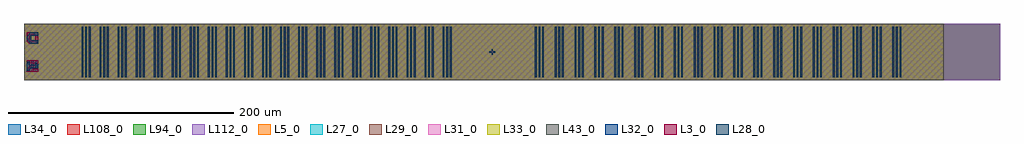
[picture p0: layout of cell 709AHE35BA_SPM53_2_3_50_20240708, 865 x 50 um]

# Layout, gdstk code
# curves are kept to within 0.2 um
from math import pi, radians
import gdstk
lib = gdstk.Library(unit=1e-6, precision=1e-09)
def R(c, l, rs):  # rectangles x0, y0, x1, y1
    for r in rs: c.add(gdstk.rectangle(r[:2], r[2:], *l))
def A(c, l, x, y, w, h, nx, ny, dx, dy):  # array of equal rectangles
    R(c, l, [(x+i*dx, y+j*dy, x+i*dx+w, y+j*dy+h) for i in range(nx) for j in range(ny)])
def P(c, l, *ps):  # polygons
    for p in ps: c.add(gdstk.Polygon(p, *l))
L3_0 = (3, 0)
L5_0 = (5, 0)
L27_0 = (27, 0)
L28_0 = (28, 0)
L29_0 = (29, 0)
L31_0 = (31, 0)
L32_0 = (32, 0)
L33_0 = (33, 0)
L34_0 = (34, 0)
L43_0 = (43, 0)
L94_0 = (94, 0)
L108_0 = (108, 0)
L112_0 = (112, 0)

spm53_800_50_1_6_45_0_t_ = lib.new_cell('SPM53_800_50_1_6_45_0_T_3_T')
A(spm53_800_50_1_6_45_0_t_, L3_0, 51, 2.5, 1.6, 45, 3, 1, 3.2, 0)
A(spm53_800_50_1_6_45_0_t_, L3_0, 67, 2.5, 1.6, 45, 3, 1, 3.2, 0)
A(spm53_800_50_1_6_45_0_t_, L3_0, 83, 2.5, 1.6, 45, 3, 1, 3.2, 0)
A(spm53_800_50_1_6_45_0_t_, L3_0, 99, 2.5, 1.6, 45, 3, 1, 3.2, 0)
A(spm53_800_50_1_6_45_0_t_, L3_0, 115, 2.5, 1.6, 45, 3, 1, 3.2, 0)
A(spm53_800_50_1_6_45_0_t_, L3_0, 131, 2.5, 1.6, 45, 3, 1, 3.2, 0)
A(spm53_800_50_1_6_45_0_t_, L3_0, 147, 2.5, 1.6, 45, 3, 1, 3.2, 0)
A(spm53_800_50_1_6_45_0_t_, L3_0, 163, 2.5, 1.6, 45, 3, 1, 3.2, 0)
A(spm53_800_50_1_6_45_0_t_, L3_0, 179, 2.5, 1.6, 45, 3, 1, 3.2, 0)
A(spm53_800_50_1_6_45_0_t_, L3_0, 195, 2.5, 1.6, 45, 3, 1, 3.2, 0)
A(spm53_800_50_1_6_45_0_t_, L3_0, 211, 2.5, 1.6, 45, 3, 1, 3.2, 0)
A(spm53_800_50_1_6_45_0_t_, L3_0, 227, 2.5, 1.6, 45, 3, 1, 3.2, 0)
A(spm53_800_50_1_6_45_0_t_, L3_0, 243, 2.5, 1.6, 45, 3, 1, 3.2, 0)
A(spm53_800_50_1_6_45_0_t_, L3_0, 259, 2.5, 1.6, 45, 3, 1, 3.2, 0)
A(spm53_800_50_1_6_45_0_t_, L3_0, 275, 2.5, 1.6, 45, 3, 1, 3.2, 0)
A(spm53_800_50_1_6_45_0_t_, L3_0, 291, 2.5, 1.6, 45, 3, 1, 3.2, 0)
A(spm53_800_50_1_6_45_0_t_, L3_0, 307, 2.5, 1.6, 45, 3, 1, 3.2, 0)
A(spm53_800_50_1_6_45_0_t_, L3_0, 323, 2.5, 1.6, 45, 3, 1, 3.2, 0)
A(spm53_800_50_1_6_45_0_t_, L3_0, 339, 2.5, 1.6, 45, 3, 1, 3.2, 0)
A(spm53_800_50_1_6_45_0_t_, L3_0, 355, 2.5, 1.6, 45, 3, 1, 3.2, 0)
A(spm53_800_50_1_6_45_0_t_, L3_0, 371, 2.5, 1.6, 45, 3, 1, 3.2, 0)
A(spm53_800_50_1_6_45_0_t_, L3_0, 452.8, 2.5, 1.6, 45, 3, 1, 3.2, 0)
A(spm53_800_50_1_6_45_0_t_, L3_0, 470.4, 2.5, 1.6, 45, 3, 1, 3.2, 0)
A(spm53_800_50_1_6_45_0_t_, L3_0, 488, 2.5, 1.6, 45, 3, 1, 3.2, 0)
A(spm53_800_50_1_6_45_0_t_, L3_0, 505.6, 2.5, 1.6, 45, 3, 1, 3.2, 0)
A(spm53_800_50_1_6_45_0_t_, L3_0, 523.2, 2.5, 1.6, 45, 3, 1, 3.2, 0)
A(spm53_800_50_1_6_45_0_t_, L3_0, 540.8, 2.5, 1.6, 45, 3, 1, 3.2, 0)
A(spm53_800_50_1_6_45_0_t_, L3_0, 558.4, 2.5, 1.6, 45, 3, 1, 3.2, 0)
A(spm53_800_50_1_6_45_0_t_, L3_0, 576, 2.5, 1.6, 45, 3, 1, 3.2, 0)
A(spm53_800_50_1_6_45_0_t_, L3_0, 593.6, 2.5, 1.6, 45, 3, 1, 3.2, 0)
A(spm53_800_50_1_6_45_0_t_, L3_0, 611.2, 2.5, 1.6, 45, 3, 1, 3.2, 0)
A(spm53_800_50_1_6_45_0_t_, L3_0, 628.8, 2.5, 1.6, 45, 3, 1, 3.2, 0)
A(spm53_800_50_1_6_45_0_t_, L3_0, 646.4, 2.5, 1.6, 45, 3, 1, 3.2, 0)
A(spm53_800_50_1_6_45_0_t_, L3_0, 664, 2.5, 1.6, 45, 3, 1, 3.2, 0)
A(spm53_800_50_1_6_45_0_t_, L3_0, 681.6, 2.5, 1.6, 45, 3, 1, 3.2, 0)
A(spm53_800_50_1_6_45_0_t_, L3_0, 699.2, 2.5, 1.6, 45, 3, 1, 3.2, 0)
A(spm53_800_50_1_6_45_0_t_, L3_0, 716.8, 2.5, 1.6, 45, 3, 1, 3.2, 0)
A(spm53_800_50_1_6_45_0_t_, L3_0, 734.4, 2.5, 1.6, 45, 3, 1, 3.2, 0)
A(spm53_800_50_1_6_45_0_t_, L3_0, 752, 2.5, 1.6, 45, 3, 1, 3.2, 0)
A(spm53_800_50_1_6_45_0_t_, L3_0, 769.6, 2.5, 1.6, 45, 3, 1, 3.2, 0)
P(spm53_800_50_1_6_45_0_t_, L3_0, [(415.5,24.5),(417.5,24.5),(417.5,25.5),(415.5,25.5),(415.5,27.5),(414.5,27.5),(414.5,25.5),(412.5,25.5),(412.5,24.5),(414.5,24.5),(414.5,22.5),(415.5,22.5)])
R(spm53_800_50_1_6_45_0_t_, L5_0, [(15,0,815,50)])
R(spm53_800_50_1_6_45_0_t_, L27_0, [(15,0,815,50)])
R(spm53_800_50_1_6_45_0_t_, L29_0, [(15,0,815,50)])
R(spm53_800_50_1_6_45_0_t_, L31_0, [(15,0,815,50)])
R(spm53_800_50_1_6_45_0_t_, L33_0, [(15,0,815,50)])
R(spm53_800_50_1_6_45_0_t_, L34_0, [(15,0,865,50)])
R(spm53_800_50_1_6_45_0_t_, L43_0, [(15,0,815,50)])
R(spm53_800_50_1_6_45_0_t_, L94_0, [(15,0,865,50)])
R(spm53_800_50_1_6_45_0_t_, L108_0, [(15,0,865,50)])
R(spm53_800_50_1_6_45_0_t_, L112_0, [(15,0,865,50)])

c_spm53_800_50_1_6_45_0_t_ = lib.new_cell('SPM53_800_50_1_6_45_0_T_3_name')
P(c_spm53_800_50_1_6_45_0_t_, L3_0, [(15.5,2.5),(17.5,4.5),(17.5,10.5),(15.5,12.5),(7.5,12.5),(7.5,5),(10,5),(10,10),(14,10),(15,9),(15,6),(14,5),(7.5,5),(7.5,2.5)],
  [(35,8.5),(40,2.5),(42.5,2.5),(42.5,12.5),(40,12.5),(40,6.5),(35,12.5),(32.5,12.5),(32.5,2.5),(35,2.5)])
R(c_spm53_800_50_1_6_45_0_t_, L5_0, [(0,0,50,15)])
R(c_spm53_800_50_1_6_45_0_t_, L27_0, [(0,0,50,15)])
R(c_spm53_800_50_1_6_45_0_t_, L29_0, [(0,0,50,15)])
R(c_spm53_800_50_1_6_45_0_t_, L31_0, [(0,0,50,15)])
R(c_spm53_800_50_1_6_45_0_t_, L33_0, [(0,0,50,15)])
R(c_spm53_800_50_1_6_45_0_t_, L34_0, [(0,0,50,15)])
R(c_spm53_800_50_1_6_45_0_t_, L43_0, [(0,0,50,15)])
R(c_spm53_800_50_1_6_45_0_t_, L94_0, [(0,0,50,15)])
R(c_spm53_800_50_1_6_45_0_t_, L108_0, [(0,0,50,15)])
R(c_spm53_800_50_1_6_45_0_t_, L112_0, [(0,0,50,15)])

c_spm53_800_50_1_6_45_0_t__ = lib.new_cell('SPM53_800_50_1_6_45_0_T_28_T')
R(c_spm53_800_50_1_6_45_0_t__, L5_0, [(15,0,815,50)])
R(c_spm53_800_50_1_6_45_0_t__, L27_0, [(15,0,815,50)])
A(c_spm53_800_50_1_6_45_0_t__, L28_0, 51, 2.5, 1.6, 45, 3, 1, 3.2, 0)
A(c_spm53_800_50_1_6_45_0_t__, L28_0, 67, 2.5, 1.6, 45, 3, 1, 3.2, 0)
A(c_spm53_800_50_1_6_45_0_t__, L28_0, 83, 2.5, 1.6, 45, 3, 1, 3.2, 0)
A(c_spm53_800_50_1_6_45_0_t__, L28_0, 99, 2.5, 1.6, 45, 3, 1, 3.2, 0)
A(c_spm53_800_50_1_6_45_0_t__, L28_0, 115, 2.5, 1.6, 45, 3, 1, 3.2, 0)
A(c_spm53_800_50_1_6_45_0_t__, L28_0, 131, 2.5, 1.6, 45, 3, 1, 3.2, 0)
A(c_spm53_800_50_1_6_45_0_t__, L28_0, 147, 2.5, 1.6, 45, 3, 1, 3.2, 0)
A(c_spm53_800_50_1_6_45_0_t__, L28_0, 163, 2.5, 1.6, 45, 3, 1, 3.2, 0)
A(c_spm53_800_50_1_6_45_0_t__, L28_0, 179, 2.5, 1.6, 45, 3, 1, 3.2, 0)
A(c_spm53_800_50_1_6_45_0_t__, L28_0, 195, 2.5, 1.6, 45, 3, 1, 3.2, 0)
A(c_spm53_800_50_1_6_45_0_t__, L28_0, 211, 2.5, 1.6, 45, 3, 1, 3.2, 0)
A(c_spm53_800_50_1_6_45_0_t__, L28_0, 227, 2.5, 1.6, 45, 3, 1, 3.2, 0)
A(c_spm53_800_50_1_6_45_0_t__, L28_0, 243, 2.5, 1.6, 45, 3, 1, 3.2, 0)
A(c_spm53_800_50_1_6_45_0_t__, L28_0, 259, 2.5, 1.6, 45, 3, 1, 3.2, 0)
A(c_spm53_800_50_1_6_45_0_t__, L28_0, 275, 2.5, 1.6, 45, 3, 1, 3.2, 0)
A(c_spm53_800_50_1_6_45_0_t__, L28_0, 291, 2.5, 1.6, 45, 3, 1, 3.2, 0)
A(c_spm53_800_50_1_6_45_0_t__, L28_0, 307, 2.5, 1.6, 45, 3, 1, 3.2, 0)
A(c_spm53_800_50_1_6_45_0_t__, L28_0, 323, 2.5, 1.6, 45, 3, 1, 3.2, 0)
A(c_spm53_800_50_1_6_45_0_t__, L28_0, 339, 2.5, 1.6, 45, 3, 1, 3.2, 0)
A(c_spm53_800_50_1_6_45_0_t__, L28_0, 355, 2.5, 1.6, 45, 3, 1, 3.2, 0)
A(c_spm53_800_50_1_6_45_0_t__, L28_0, 371, 2.5, 1.6, 45, 3, 1, 3.2, 0)
A(c_spm53_800_50_1_6_45_0_t__, L28_0, 452.8, 2.5, 1.6, 45, 3, 1, 3.2, 0)
A(c_spm53_800_50_1_6_45_0_t__, L28_0, 470.4, 2.5, 1.6, 45, 3, 1, 3.2, 0)
A(c_spm53_800_50_1_6_45_0_t__, L28_0, 488, 2.5, 1.6, 45, 3, 1, 3.2, 0)
A(c_spm53_800_50_1_6_45_0_t__, L28_0, 505.6, 2.5, 1.6, 45, 3, 1, 3.2, 0)
A(c_spm53_800_50_1_6_45_0_t__, L28_0, 523.2, 2.5, 1.6, 45, 3, 1, 3.2, 0)
A(c_spm53_800_50_1_6_45_0_t__, L28_0, 540.8, 2.5, 1.6, 45, 3, 1, 3.2, 0)
A(c_spm53_800_50_1_6_45_0_t__, L28_0, 558.4, 2.5, 1.6, 45, 3, 1, 3.2, 0)
A(c_spm53_800_50_1_6_45_0_t__, L28_0, 576, 2.5, 1.6, 45, 3, 1, 3.2, 0)
A(c_spm53_800_50_1_6_45_0_t__, L28_0, 593.6, 2.5, 1.6, 45, 3, 1, 3.2, 0)
A(c_spm53_800_50_1_6_45_0_t__, L28_0, 611.2, 2.5, 1.6, 45, 3, 1, 3.2, 0)
A(c_spm53_800_50_1_6_45_0_t__, L28_0, 628.8, 2.5, 1.6, 45, 3, 1, 3.2, 0)
A(c_spm53_800_50_1_6_45_0_t__, L28_0, 646.4, 2.5, 1.6, 45, 3, 1, 3.2, 0)
A(c_spm53_800_50_1_6_45_0_t__, L28_0, 664, 2.5, 1.6, 45, 3, 1, 3.2, 0)
A(c_spm53_800_50_1_6_45_0_t__, L28_0, 681.6, 2.5, 1.6, 45, 3, 1, 3.2, 0)
A(c_spm53_800_50_1_6_45_0_t__, L28_0, 699.2, 2.5, 1.6, 45, 3, 1, 3.2, 0)
A(c_spm53_800_50_1_6_45_0_t__, L28_0, 716.8, 2.5, 1.6, 45, 3, 1, 3.2, 0)
A(c_spm53_800_50_1_6_45_0_t__, L28_0, 734.4, 2.5, 1.6, 45, 3, 1, 3.2, 0)
A(c_spm53_800_50_1_6_45_0_t__, L28_0, 752, 2.5, 1.6, 45, 3, 1, 3.2, 0)
A(c_spm53_800_50_1_6_45_0_t__, L28_0, 769.6, 2.5, 1.6, 45, 3, 1, 3.2, 0)
P(c_spm53_800_50_1_6_45_0_t__, L28_0, [(415.5,24.5),(417.5,24.5),(417.5,25.5),(415.5,25.5),(415.5,27.5),(414.5,27.5),(414.5,25.5),(412.5,25.5),(412.5,24.5),(414.5,24.5),(414.5,22.5),(415.5,22.5)])
R(c_spm53_800_50_1_6_45_0_t__, L29_0, [(15,0,815,50)])
R(c_spm53_800_50_1_6_45_0_t__, L31_0, [(15,0,815,50)])
R(c_spm53_800_50_1_6_45_0_t__, L33_0, [(15,0,815,50)])
R(c_spm53_800_50_1_6_45_0_t__, L34_0, [(15,0,865,50)])
R(c_spm53_800_50_1_6_45_0_t__, L43_0, [(15,0,815,50)])
R(c_spm53_800_50_1_6_45_0_t__, L94_0, [(15,0,865,50)])
R(c_spm53_800_50_1_6_45_0_t__, L108_0, [(15,0,865,50)])
R(c_spm53_800_50_1_6_45_0_t__, L112_0, [(15,0,865,50)])

c_spm53_800_50_1_6_45_0_t___ = lib.new_cell('SPM53_800_50_1_6_45_0_T_28_name')
R(c_spm53_800_50_1_6_45_0_t___, L5_0, [(0,0,50,15)])
R(c_spm53_800_50_1_6_45_0_t___, L27_0, [(0,0,50,15)])
P(c_spm53_800_50_1_6_45_0_t___, L28_0, [(17.5,5.5),(17.5,12.5),(14.5,12.5),(14.5,6.5),(10.5,6.5),(10.5,12.5),(7.5,12.5),(7.5,5.5),(11.5,2.5),(13.5,2.5)],
  [(41.5,5),(39.5,5),(39.5,12.5),(36.5,12.5),(36.5,11.5),(34.5,11.5),(34.5,9.5),(36.5,9.5),(36.5,5),(33.5,5),(33.5,2.5),(41.5,2.5)])
R(c_spm53_800_50_1_6_45_0_t___, L29_0, [(0,0,50,15)])
R(c_spm53_800_50_1_6_45_0_t___, L31_0, [(0,0,50,15)])
R(c_spm53_800_50_1_6_45_0_t___, L33_0, [(0,0,50,15)])
R(c_spm53_800_50_1_6_45_0_t___, L34_0, [(0,0,50,15)])
R(c_spm53_800_50_1_6_45_0_t___, L43_0, [(0,0,50,15)])
R(c_spm53_800_50_1_6_45_0_t___, L94_0, [(0,0,50,15)])
R(c_spm53_800_50_1_6_45_0_t___, L108_0, [(0,0,50,15)])
R(c_spm53_800_50_1_6_45_0_t___, L112_0, [(0,0,50,15)])

c_spm53_800_50_1_6_45_0_t____ = lib.new_cell('SPM53_800_50_1_6_45_0_T_32_T')
R(c_spm53_800_50_1_6_45_0_t____, L5_0, [(15,0,815,50)])
R(c_spm53_800_50_1_6_45_0_t____, L27_0, [(15,0,815,50)])
R(c_spm53_800_50_1_6_45_0_t____, L29_0, [(15,0,815,50)])
R(c_spm53_800_50_1_6_45_0_t____, L31_0, [(15,0,815,50)])
A(c_spm53_800_50_1_6_45_0_t____, L32_0, 51, 2.5, 1.6, 45, 3, 1, 3.2, 0)
A(c_spm53_800_50_1_6_45_0_t____, L32_0, 67, 2.5, 1.6, 45, 3, 1, 3.2, 0)
A(c_spm53_800_50_1_6_45_0_t____, L32_0, 83, 2.5, 1.6, 45, 3, 1, 3.2, 0)
A(c_spm53_800_50_1_6_45_0_t____, L32_0, 99, 2.5, 1.6, 45, 3, 1, 3.2, 0)
A(c_spm53_800_50_1_6_45_0_t____, L32_0, 115, 2.5, 1.6, 45, 3, 1, 3.2, 0)
A(c_spm53_800_50_1_6_45_0_t____, L32_0, 131, 2.5, 1.6, 45, 3, 1, 3.2, 0)
A(c_spm53_800_50_1_6_45_0_t____, L32_0, 147, 2.5, 1.6, 45, 3, 1, 3.2, 0)
A(c_spm53_800_50_1_6_45_0_t____, L32_0, 163, 2.5, 1.6, 45, 3, 1, 3.2, 0)
A(c_spm53_800_50_1_6_45_0_t____, L32_0, 179, 2.5, 1.6, 45, 3, 1, 3.2, 0)
A(c_spm53_800_50_1_6_45_0_t____, L32_0, 195, 2.5, 1.6, 45, 3, 1, 3.2, 0)
A(c_spm53_800_50_1_6_45_0_t____, L32_0, 211, 2.5, 1.6, 45, 3, 1, 3.2, 0)
A(c_spm53_800_50_1_6_45_0_t____, L32_0, 227, 2.5, 1.6, 45, 3, 1, 3.2, 0)
A(c_spm53_800_50_1_6_45_0_t____, L32_0, 243, 2.5, 1.6, 45, 3, 1, 3.2, 0)
A(c_spm53_800_50_1_6_45_0_t____, L32_0, 259, 2.5, 1.6, 45, 3, 1, 3.2, 0)
A(c_spm53_800_50_1_6_45_0_t____, L32_0, 275, 2.5, 1.6, 45, 3, 1, 3.2, 0)
A(c_spm53_800_50_1_6_45_0_t____, L32_0, 291, 2.5, 1.6, 45, 3, 1, 3.2, 0)
A(c_spm53_800_50_1_6_45_0_t____, L32_0, 307, 2.5, 1.6, 45, 3, 1, 3.2, 0)
A(c_spm53_800_50_1_6_45_0_t____, L32_0, 323, 2.5, 1.6, 45, 3, 1, 3.2, 0)
A(c_spm53_800_50_1_6_45_0_t____, L32_0, 339, 2.5, 1.6, 45, 3, 1, 3.2, 0)
A(c_spm53_800_50_1_6_45_0_t____, L32_0, 355, 2.5, 1.6, 45, 3, 1, 3.2, 0)
A(c_spm53_800_50_1_6_45_0_t____, L32_0, 371, 2.5, 1.6, 45, 3, 1, 3.2, 0)
A(c_spm53_800_50_1_6_45_0_t____, L32_0, 452.8, 2.5, 1.6, 45, 3, 1, 3.2, 0)
A(c_spm53_800_50_1_6_45_0_t____, L32_0, 470.4, 2.5, 1.6, 45, 3, 1, 3.2, 0)
A(c_spm53_800_50_1_6_45_0_t____, L32_0, 488, 2.5, 1.6, 45, 3, 1, 3.2, 0)
A(c_spm53_800_50_1_6_45_0_t____, L32_0, 505.6, 2.5, 1.6, 45, 3, 1, 3.2, 0)
A(c_spm53_800_50_1_6_45_0_t____, L32_0, 523.2, 2.5, 1.6, 45, 3, 1, 3.2, 0)
A(c_spm53_800_50_1_6_45_0_t____, L32_0, 540.8, 2.5, 1.6, 45, 3, 1, 3.2, 0)
A(c_spm53_800_50_1_6_45_0_t____, L32_0, 558.4, 2.5, 1.6, 45, 3, 1, 3.2, 0)
A(c_spm53_800_50_1_6_45_0_t____, L32_0, 576, 2.5, 1.6, 45, 3, 1, 3.2, 0)
A(c_spm53_800_50_1_6_45_0_t____, L32_0, 593.6, 2.5, 1.6, 45, 3, 1, 3.2, 0)
A(c_spm53_800_50_1_6_45_0_t____, L32_0, 611.2, 2.5, 1.6, 45, 3, 1, 3.2, 0)
A(c_spm53_800_50_1_6_45_0_t____, L32_0, 628.8, 2.5, 1.6, 45, 3, 1, 3.2, 0)
A(c_spm53_800_50_1_6_45_0_t____, L32_0, 646.4, 2.5, 1.6, 45, 3, 1, 3.2, 0)
A(c_spm53_800_50_1_6_45_0_t____, L32_0, 664, 2.5, 1.6, 45, 3, 1, 3.2, 0)
A(c_spm53_800_50_1_6_45_0_t____, L32_0, 681.6, 2.5, 1.6, 45, 3, 1, 3.2, 0)
A(c_spm53_800_50_1_6_45_0_t____, L32_0, 699.2, 2.5, 1.6, 45, 3, 1, 3.2, 0)
A(c_spm53_800_50_1_6_45_0_t____, L32_0, 716.8, 2.5, 1.6, 45, 3, 1, 3.2, 0)
A(c_spm53_800_50_1_6_45_0_t____, L32_0, 734.4, 2.5, 1.6, 45, 3, 1, 3.2, 0)
A(c_spm53_800_50_1_6_45_0_t____, L32_0, 752, 2.5, 1.6, 45, 3, 1, 3.2, 0)
A(c_spm53_800_50_1_6_45_0_t____, L32_0, 769.6, 2.5, 1.6, 45, 3, 1, 3.2, 0)
P(c_spm53_800_50_1_6_45_0_t____, L32_0, [(415.5,24.5),(417.5,24.5),(417.5,25.5),(415.5,25.5),(415.5,27.5),(414.5,27.5),(414.5,25.5),(412.5,25.5),(412.5,24.5),(414.5,24.5),(414.5,22.5),(415.5,22.5)])
R(c_spm53_800_50_1_6_45_0_t____, L33_0, [(15,0,815,50)])
R(c_spm53_800_50_1_6_45_0_t____, L34_0, [(15,0,865,50)])
R(c_spm53_800_50_1_6_45_0_t____, L43_0, [(15,0,815,50)])
R(c_spm53_800_50_1_6_45_0_t____, L94_0, [(15,0,865,50)])
R(c_spm53_800_50_1_6_45_0_t____, L108_0, [(15,0,865,50)])
R(c_spm53_800_50_1_6_45_0_t____, L112_0, [(15,0,865,50)])

c_spm53_800_50_1_6_45_0_t_____ = lib.new_cell('SPM53_800_50_1_6_45_0_T_32_name')
R(c_spm53_800_50_1_6_45_0_t_____, L5_0, [(0,0,50,15)])
R(c_spm53_800_50_1_6_45_0_t_____, L27_0, [(0,0,50,15)])
R(c_spm53_800_50_1_6_45_0_t_____, L29_0, [(0,0,50,15)])
R(c_spm53_800_50_1_6_45_0_t_____, L31_0, [(0,0,50,15)])
P(c_spm53_800_50_1_6_45_0_t_____, L32_0, [(17.5,5.5),(17.5,12.5),(14.5,12.5),(14.5,6.5),(10.5,6.5),(10.5,12.5),(7.5,12.5),(7.5,5.5),(11.5,2.5),(13.5,2.5)],
  [(42.5,12.5),(32.5,12.5),(32.5,10),(39.5,10),(39.5,8.8),(32.5,8.8),(32.5,6.3),(39.5,6.3),(39.5,5),(32.5,5),(32.5,2.5),(42.5,2.5)])
R(c_spm53_800_50_1_6_45_0_t_____, L33_0, [(0,0,50,15)])
R(c_spm53_800_50_1_6_45_0_t_____, L34_0, [(0,0,50,15)])
R(c_spm53_800_50_1_6_45_0_t_____, L43_0, [(0,0,50,15)])
R(c_spm53_800_50_1_6_45_0_t_____, L94_0, [(0,0,50,15)])
R(c_spm53_800_50_1_6_45_0_t_____, L108_0, [(0,0,50,15)])
R(c_spm53_800_50_1_6_45_0_t_____, L112_0, [(0,0,50,15)])

c_709ahe35ba_spm53_2_3_50_ = lib.new_cell('709AHE35BA_SPM53_2_3_50_20240708')
c_709ahe35ba_spm53_2_3_50_.add(gdstk.Reference(spm53_800_50_1_6_45_0_t_, (0,0)))
c_709ahe35ba_spm53_2_3_50_.add(gdstk.Reference(c_spm53_800_50_1_6_45_0_t_, (0,50), rotation=3*pi/2))
c_709ahe35ba_spm53_2_3_50_.add(gdstk.Reference(c_spm53_800_50_1_6_45_0_t__, (0,0)))
c_709ahe35ba_spm53_2_3_50_.add(gdstk.Reference(c_spm53_800_50_1_6_45_0_t___, (0,50), rotation=3*pi/2))
c_709ahe35ba_spm53_2_3_50_.add(gdstk.Reference(c_spm53_800_50_1_6_45_0_t____, (0,0)))
c_709ahe35ba_spm53_2_3_50_.add(gdstk.Reference(c_spm53_800_50_1_6_45_0_t_____, (0,50), rotation=3*pi/2))

lib.write_gds('709AHE35BA_SPM53_2_3_50_20240708.gds')
